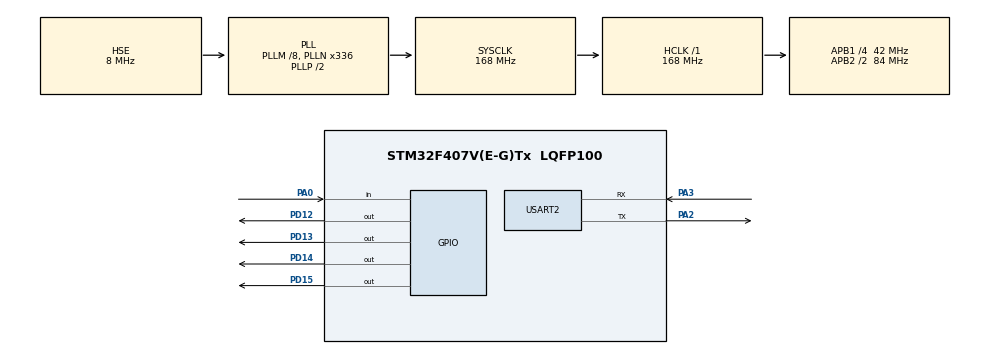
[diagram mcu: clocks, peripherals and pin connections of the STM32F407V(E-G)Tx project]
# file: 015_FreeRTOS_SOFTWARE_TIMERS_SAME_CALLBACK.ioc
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FREERTOS.Tasks01=defaultTask,24,128,StartDefaultTask,Default,NULL,Dynamic,NULL,NULL
FREERTOS.configUSE_NEWLIB_REENTRANT=1
Mcu.Family=STM32F4
Mcu.Name=STM32F407V(E-G)Tx
Mcu.Package=LQFP100
NVIC.PriorityGroup=NVIC_PRIORITYGROUP_4
NVIC.TIM8_TRG_COM_TIM14_IRQn=true\:15\:0\:false\:false\:true\:false\:false\:true\:true
NVIC.TimeBase=TIM8_TRG_COM_TIM14_IRQn
NVIC.TimeBaseIP=TIM14
PA0-WKUP.Signal=GPIO_Input
PA2.Mode=Asynchronous
PA2.Signal=USART2_TX
PA3.Mode=Asynchronous
PA3.Signal=USART2_RX
PD12.Signal=GPIO_Output
PD13.Signal=GPIO_Output
PD14.Signal=GPIO_Output
PD15.Signal=GPIO_Output
PH0-OSC_IN.Mode=HSE-External-Oscillator
PH0-OSC_IN.Signal=RCC_OSC_IN
PH1-OSC_OUT.Mode=HSE-External-Oscillator
PH1-OSC_OUT.Signal=RCC_OSC_OUT
ProjectManager.HeapSize=0x200
ProjectManager.StackSize=0x400
ProjectManager.TargetToolchain=STM32CubeIDE
RCC.48MHZClocksFreq_Value=48000000
RCC.AHBFreq_Value=168000000
RCC.APB1CLKDivider=RCC_HCLK_DIV4
RCC.APB1Freq_Value=42000000
RCC.APB1TimFreq_Value=84000000
RCC.APB2CLKDivider=RCC_HCLK_DIV2
RCC.APB2Freq_Value=84000000
RCC.APB2TimFreq_Value=168000000
RCC.CortexFreq_Value=168000000
RCC.HCLKFreq_Value=168000000
RCC.HSE_VALUE=8000000
RCC.HSI_VALUE=16000000
RCC.LSE_VALUE=32768
RCC.PLLM=8
RCC.PLLN=336
RCC.PLLQ=7
RCC.PLLSourceVirtual=RCC_PLLSOURCE_HSE
RCC.SYSCLKFreq_VALUE=168000000
RCC.SYSCLKSource=RCC_SYSCLKSOURCE_PLLCLK
RCC.VCOOutputFreq_Value=336000000
USART2.VirtualMode=VM_ASYNC
VP_FREERTOS_VS_CMSIS_V2.Mode=CMSIS_V2
VP_SYS_VS_tim14.Mode=TIM14
board=STM32F407G-DISC1

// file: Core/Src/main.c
/* USER CODE BEGIN Header */
/**
  ******************************************************************************
  * @file           : main.c
  * @brief          : Main program body
  ******************************************************************************
  * @attention
  *
  * Copyright (c) 2023 STMicroelectronics.
  * All rights reserved.
  *
  * This software is licensed under terms that can be found in the LICENSE file
  * in the root directory of this software component.
  * If no LICENSE file comes with this software, it is provided AS-IS.
  *
  ******************************************************************************
  */
/* USER CODE END Header */
#include "main.h"
#include "cmsis_os.h"

/* USER CODE BEGIN Includes */
#include "FreeRTOS.h"
#include "task.h"
#include "timers.h"
/* USER CODE END Includes */

/* USER CODE BEGIN PTD */
#define mainOne_SHOT_TIMER_PERIOD 		pdMS_TO_TICKS(3333)
#define mainAUTO_RELOAD_TIMER_PERIOD 	pdMS_TO_TICKS(500)
/* USER CODE END PTD */

UART_HandleTypeDef huart2;

/* Definitions for defaultTask */

/* USER CODE BEGIN PV */
TimerHandle_t xAutoReloadTimer, xOneShotTimer;
BaseType_t xTimer1Started, xTimer2Started;
/* USER CODE END PV */

void SystemClock_Config(void);
static void MX_GPIO_Init(void);
static void MX_USART2_UART_Init(void);

/* USER CODE BEGIN 0 */
static void prvTimerCallBack(TimerHandle_t xTimer)
{
	TickType_t xTimeNow;
	uint32_t ulExecutionCount;
	char buffer[50];

	ulExecutionCount = (uint32_t) pvTimerGetTimerID(xTimer);
	ulExecutionCount++;
	vTimerSetTimerID(xTimer, (void *) ulExecutionCount);
	xTimeNow = xTaskGetTickCount();

	if(xTimer == xOneShotTimer)
	{
		sprintf(buffer,"One-Shot Timer Call-Back Executing : %ld\r\n",xTimeNow);
		HAL_UART_Transmit(&huart2, (uint8_t *)buffer, 50, HAL_MAX_DELAY);
	}
	else if(xTimer == xAutoReloadTimer)
	{
		sprintf(buffer,"Auto-Reload Timer Call-Back Executing : %ld\r\n",xTimeNow);
		HAL_UART_Transmit(&huart2, (uint8_t *)buffer, 50, HAL_MAX_DELAY);
		if(ulExecutionCount == 5)
			xTimerStop(xTimer,0);
	}
}
/* USER CODE END 0 */

int main(void)
{

  /* MCU Configuration--------------------------------------------------------*/

  /* Reset of all peripherals, Initializes the Flash interface and the Systick. */
  HAL_Init();

  /* Configure the system clock */
  SystemClock_Config();

  /* Initialize all configured peripherals */
  MX_GPIO_Init();
  MX_USART2_UART_Init();
  /* USER CODE BEGIN 2 */

  xOneShotTimer = xTimerCreate("OneShot", mainOne_SHOT_TIMER_PERIOD, pdFALSE, 0, prvTimerCallBack);
  xAutoReloadTimer = xTimerCreate("AutoReload", mainAUTO_RELOAD_TIMER_PERIOD, pdTRUE,0, prvTimerCallBack);

  if((xOneShotTimer != NULL) && (xAutoReloadTimer != NULL))
  {
	  xTimer1Started = xTimerStart(xOneShotTimer, 0);
	  xTimer2Started = xTimerStart(xAutoReloadTimer, 0);

	  if((xTimer1Started == pdPASS) && (xTimer2Started == pdPASS))
		  vTaskStartScheduler();
  }
  /* USER CODE END 2 */

  /* Init scheduler */

  /* Create the thread(s) */
  /* creation of defaultTask */

  /* Start scheduler */

  /* We should never get here as control is now taken by the scheduler */
  /* Infinite loop */
  while (1)
  {

  }
}

void SystemClock_Config(void)
{
  RCC_OscInitTypeDef RCC_OscInitStruct = {0};
  RCC_ClkInitTypeDef RCC_ClkInitStruct = {0};

  /** Configure the main internal regulator output voltage
  */
  __HAL_RCC_PWR_CLK_ENABLE();
  __HAL_PWR_VOLTAGESCALING_CONFIG(PWR_REGULATOR_VOLTAGE_SCALE1);

  /** Initializes the RCC Oscillators according to the specified parameters
  * in the RCC_OscInitTypeDef structure.
  */
  RCC_OscInitStruct.OscillatorType = RCC_OSCILLATORTYPE_HSE;
  RCC_OscInitStruct.HSEState = RCC_HSE_ON;
  RCC_OscInitStruct.PLL.PLLState = RCC_PLL_ON;
  RCC_OscInitStruct.PLL.PLLSource = RCC_PLLSOURCE_HSE;
  RCC_OscInitStruct.PLL.PLLM = 8;
  RCC_OscInitStruct.PLL.PLLN = 336;
  RCC_OscInitStruct.PLL.PLLP = RCC_PLLP_DIV2;
  RCC_OscInitStruct.PLL.PLLQ = 7;
  if (HAL_RCC_OscConfig(&RCC_OscInitStruct) != HAL_OK)
  {
    Error_Handler();
  }

  /** Initializes the CPU, AHB and APB buses clocks
  */
  RCC_ClkInitStruct.ClockType = RCC_CLOCKTYPE_HCLK|RCC_CLOCKTYPE_SYSCLK
                              |RCC_CLOCKTYPE_PCLK1|RCC_CLOCKTYPE_PCLK2;
  RCC_ClkInitStruct.SYSCLKSource = RCC_SYSCLKSOURCE_PLLCLK;
  RCC_ClkInitStruct.AHBCLKDivider = RCC_SYSCLK_DIV1;
  RCC_ClkInitStruct.APB1CLKDivider = RCC_HCLK_DIV4;
  RCC_ClkInitStruct.APB2CLKDivider = RCC_HCLK_DIV2;

  if (HAL_RCC_ClockConfig(&RCC_ClkInitStruct, FLASH_LATENCY_5) != HAL_OK)
  {
    Error_Handler();
  }
}

static void MX_USART2_UART_Init(void)
{

  huart2.Instance = USART2;
  huart2.Init.BaudRate = 115200;
  huart2.Init.WordLength = UART_WORDLENGTH_8B;
  huart2.Init.StopBits = UART_STOPBITS_1;
  huart2.Init.Parity = UART_PARITY_NONE;
  huart2.Init.Mode = UART_MODE_TX_RX;
  huart2.Init.HwFlowCtl = UART_HWCONTROL_NONE;
  huart2.Init.OverSampling = UART_OVERSAMPLING_16;
  if (HAL_UART_Init(&huart2) != HAL_OK)
  {
    Error_Handler();
  }

}

static void MX_GPIO_Init(void)
{
  GPIO_InitTypeDef GPIO_InitStruct = {0};

  /* GPIO Ports Clock Enable */
  __HAL_RCC_GPIOH_CLK_ENABLE();
  __HAL_RCC_GPIOA_CLK_ENABLE();
  __HAL_RCC_GPIOD_CLK_ENABLE();

  /*Configure GPIO pin Output Level */
  HAL_GPIO_WritePin(GPIOD, GPIO_PIN_12|GPIO_PIN_13|GPIO_PIN_14|GPIO_PIN_15, GPIO_PIN_RESET);

  /*Configure GPIO pin : PA0 */
  GPIO_InitStruct.Pin = GPIO_PIN_0;
  GPIO_InitStruct.Mode = GPIO_MODE_INPUT;
  GPIO_InitStruct.Pull = GPIO_NOPULL;
  HAL_GPIO_Init(GPIOA, &GPIO_InitStruct);

  /*Configure GPIO pins : PD12 PD13 PD14 PD15 */
  GPIO_InitStruct.Pin = GPIO_PIN_12|GPIO_PIN_13|GPIO_PIN_14|GPIO_PIN_15;
  GPIO_InitStruct.Mode = GPIO_MODE_OUTPUT_PP;
  GPIO_InitStruct.Pull = GPIO_NOPULL;
  GPIO_InitStruct.Speed = GPIO_SPEED_FREQ_LOW;
  HAL_GPIO_Init(GPIOD, &GPIO_InitStruct);

}

void HAL_TIM_PeriodElapsedCallback(TIM_HandleTypeDef *htim)
{
  if (htim->Instance == TIM14) {
    HAL_IncTick();
  }
}

void Error_Handler(void)
{
  __disable_irq();
  while (1)
  {
  }
}
